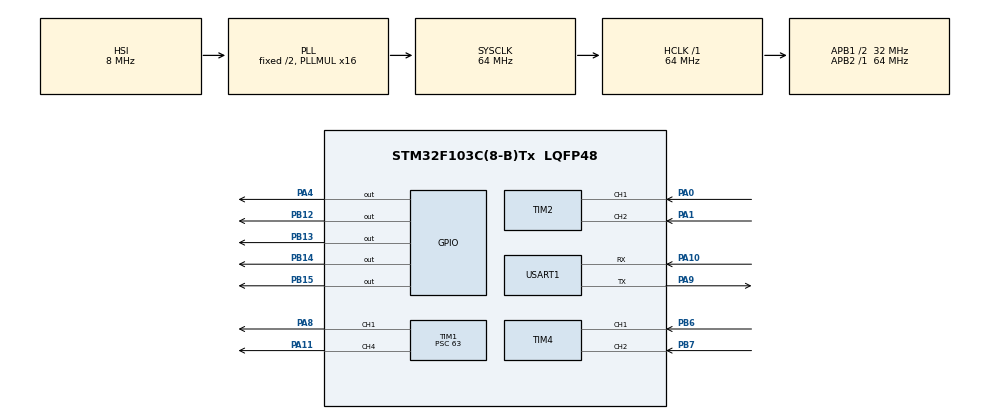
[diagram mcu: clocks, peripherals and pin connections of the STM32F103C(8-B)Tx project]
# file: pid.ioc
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Mcu.Family=STM32F1
Mcu.Name=STM32F103C(8-B)Tx
Mcu.Package=LQFP48
NVIC.PriorityGroup=NVIC_PRIORITYGROUP_4
NVIC.TIM3_IRQn=true\:0\:0\:false\:false\:true\:true\:true\:true
PA0-WKUP.GPIO_PuPd=GPIO_PULLUP
PA0-WKUP.Signal=S_TIM2_CH1_ETR
PA1.GPIO_PuPd=GPIO_PULLUP
PA1.Signal=S_TIM2_CH2
PA10.Mode=Asynchronous
PA10.Signal=USART1_RX
PA11.Signal=S_TIM1_CH4
PA13.Mode=Serial_Wire
PA13.Signal=SYS_JTMS-SWDIO
PA14.Mode=Serial_Wire
PA14.Signal=SYS_JTCK-SWCLK
PA4.GPIO_Speed=GPIO_SPEED_FREQ_MEDIUM
PA4.PinState=GPIO_PIN_SET
PA4.Signal=GPIO_Output
PA8.Signal=S_TIM1_CH1
PA9.Mode=Asynchronous
PA9.Signal=USART1_TX
PB12.GPIO_Speed=GPIO_SPEED_FREQ_MEDIUM
PB12.Signal=GPIO_Output
PB13.GPIO_Speed=GPIO_SPEED_FREQ_MEDIUM
PB13.Signal=GPIO_Output
PB14.GPIO_Speed=GPIO_SPEED_FREQ_MEDIUM
PB14.Signal=GPIO_Output
PB15.GPIO_Speed=GPIO_SPEED_FREQ_MEDIUM
PB15.Signal=GPIO_Output
PB6.GPIO_PuPd=GPIO_PULLUP
PB6.Signal=S_TIM4_CH1
PB7.GPIO_PuPd=GPIO_PULLUP
PB7.Signal=S_TIM4_CH2
ProjectManager.HeapSize=0x200
ProjectManager.StackSize=0x400
ProjectManager.TargetToolchain=MDK-ARM V5.32
RCC.AHBFreq_Value=64000000
RCC.APB1CLKDivider=RCC_HCLK_DIV2
RCC.APB1Freq_Value=32000000
RCC.APB1TimFreq_Value=64000000
RCC.APB2Freq_Value=64000000
RCC.APB2TimFreq_Value=64000000
RCC.HCLKFreq_Value=64000000
RCC.PLLMUL=RCC_PLL_MUL16
RCC.SYSCLKFreq_VALUE=64000000
RCC.SYSCLKSource=RCC_SYSCLKSOURCE_PLLCLK
RCC.USBFreq_Value=64000000
SH.S_TIM1_CH1.0=TIM1_CH1,PWM Generation1 CH1
SH.S_TIM1_CH4.0=TIM1_CH4,PWM Generation4 CH4
SH.S_TIM2_CH1_ETR.0=TIM2_CH1,Encoder_Interface
SH.S_TIM2_CH2.0=TIM2_CH2,Encoder_Interface
SH.S_TIM4_CH1.0=TIM4_CH1,Encoder_Interface
SH.S_TIM4_CH2.0=TIM4_CH2,Encoder_Interface
TIM1.AutoReloadPreload=TIM_AUTORELOAD_PRELOAD_ENABLE
TIM1.Channel-PWM\ Generation1\ CH1=TIM_CHANNEL_1
TIM1.Channel-PWM\ Generation4\ CH4=TIM_CHANNEL_4
TIM1.Period=999
TIM1.Prescaler=63
TIM2.AutoReloadPreload=TIM_AUTORELOAD_PRELOAD_ENABLE
TIM2.EncoderMode=TIM_ENCODERMODE_TI12
TIM3.AutoReloadPreload=TIM_AUTORELOAD_PRELOAD_ENABLE
TIM3.Period=99
TIM3.Prescaler=6399
TIM4.AutoReloadPreload=TIM_AUTORELOAD_PRELOAD_ENABLE
TIM4.EncoderMode=TIM_ENCODERMODE_TI12
USART1.VirtualMode=VM_ASYNC
VP_TIM1_VS_ClockSourceINT.Mode=Internal
VP_TIM3_VS_ClockSourceINT.Mode=Internal
board=custom

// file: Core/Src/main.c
/* USER CODE BEGIN Header */
/**
  ******************************************************************************
  * @file           : main.c
  * @brief          : Main program body
  ******************************************************************************
  * @attention
  *
  * Copyright (c) 2026 STMicroelectronics.
  * All rights reserved.
  *
  * This software is licensed under terms that can be found in the LICENSE file
  * in the root directory of this software component.
  * If no LICENSE file comes with this software, it is provided AS-IS.
  *
  ******************************************************************************
  */
/* USER CODE END Header */
#include "main.h"

/* USER CODE BEGIN Includes */
#include <stdio.h>

/* USER CODE END Includes */

TIM_HandleTypeDef htim1;
TIM_HandleTypeDef htim2;
TIM_HandleTypeDef htim3;
TIM_HandleTypeDef htim4;

UART_HandleTypeDef huart1;

/* USER CODE BEGIN PV */
#define COUNTS_PER_REV  1320
#define MAX_PWM         999

typedef struct {
    int16_t target;
    int16_t speed;
    int32_t last_cnt;
    float kp, ki, kd;
    float err, err_last;
    float integ;
    int16_t out;
} MOTOR_PID;

MOTOR_PID ml = {.kp=2.0f, .ki=0, .kd=0};
MOTOR_PID mr = {.kp=2.0f, .ki=0, .kd=0};

typedef enum {
    STOP = 0,
    FORWARD,
    BACKWARD,
    LEFT,
    RIGHT
} MOVE_STATE;

volatile MOVE_STATE move_state = STOP;
/* USER CODE END PV */

void SystemClock_Config(void);
static void MX_GPIO_Init(void);
static void MX_TIM1_Init(void);
static void MX_TIM2_Init(void);
static void MX_TIM3_Init(void);
static void MX_TIM4_Init(void);
static void MX_USART1_UART_Init(void);
/* USER CODE BEGIN PFP */
void Motor_Left_Set(int16_t duty);
void Motor_Right_Set(int16_t duty);
void pid_calc(MOTOR_PID *p, TIM_HandleTypeDef *htim);
void Motor_Stop(void);
void Motor_Forward(int16_t speed);
void Motor_Backward(int16_t speed);
void Motor_TurnLeft(int16_t speed);
void Motor_TurnRight(int16_t speed);
void Print_Speed(void);
/* USER CODE END PFP */

/* USER CODE BEGIN 0 */
int fputc(int ch, FILE *f)
{
    HAL_UART_Transmit(&huart1, (uint8_t *)&ch, 1, HAL_MAX_DELAY);
    return ch;
}

void Motor_Left_Set(int16_t duty)
{
    if (duty > 0) {
        HAL_GPIO_WritePin(GPIOB, GPIO_PIN_12, GPIO_PIN_SET);
        HAL_GPIO_WritePin(GPIOB, GPIO_PIN_13, GPIO_PIN_RESET);
    } else if (duty < 0) {
        HAL_GPIO_WritePin(GPIOB, GPIO_PIN_12, GPIO_PIN_RESET);
        HAL_GPIO_WritePin(GPIOB, GPIO_PIN_13, GPIO_PIN_SET);
        duty = -duty;
    } else {
        HAL_GPIO_WritePin(GPIOB, GPIO_PIN_12, GPIO_PIN_RESET);
        HAL_GPIO_WritePin(GPIOB, GPIO_PIN_13, GPIO_PIN_RESET);
    }
    if (duty > MAX_PWM) duty = MAX_PWM;
    __HAL_TIM_SET_COMPARE(&htim1, TIM_CHANNEL_1, duty);
}

void Motor_Right_Set(int16_t duty)
{
    if (duty > 0) {
        HAL_GPIO_WritePin(GPIOB, GPIO_PIN_14, GPIO_PIN_SET);
        HAL_GPIO_WritePin(GPIOB, GPIO_PIN_15, GPIO_PIN_RESET);
    } else if (duty < 0) {
        HAL_GPIO_WritePin(GPIOB, GPIO_PIN_14, GPIO_PIN_RESET);
        HAL_GPIO_WritePin(GPIOB, GPIO_PIN_15, GPIO_PIN_SET);
        duty = -duty;
    } else {
        HAL_GPIO_WritePin(GPIOB, GPIO_PIN_14, GPIO_PIN_RESET);
        HAL_GPIO_WritePin(GPIOB, GPIO_PIN_15, GPIO_PIN_RESET);
    }
    if (duty > MAX_PWM) duty = MAX_PWM;
    __HAL_TIM_SET_COMPARE(&htim1, TIM_CHANNEL_4, duty);
}

void pid_calc(MOTOR_PID *p, TIM_HandleTypeDef *htim)
{

    // 2. 读取原始计数器并计算差分速度（绝对不写回CNT，防跳1归0）
    int16_t now = (int16_t)__HAL_TIM_GET_COUNTER(htim);
    p->speed = now - (int16_t)p->last_cnt;

    // 3. 独立方向修正（仅针对右轮取负，需确保调用时右轮传 &mr）
    // 若你的右轮物理正向转时差分为负，则保留此判断；若已硬件对调AB线则删掉if直接等于
    if (p == &mr) {
        p->speed = -p->speed;
    }

    p->last_cnt = now; // 仅更新记录，绝不操作硬件计数器

    // 4. PID核心计算
    p->err = p->target - p->speed;
    p->integ += p->err;

    // 5. 积分限幅（防饱和）
    if (p->integ > 500) p->integ = 500;
    if (p->integ < -500) p->integ = -500;

    float d = p->err - p->err_last;
    p->out = (int16_t)(p->kp * p->err + p->ki * p->integ + p->kd * d);
    p->err_last = p->err;

    // 6. 输出限幅
    if (p->out > MAX_PWM) p->out = MAX_PWM;
    if (p->out < -MAX_PWM) p->out = -MAX_PWM;

    // 7. 失速保护兜底（目标非0但速度连续为0时强制断输出）
    // 注：若需统计连续失速次数可加静态变量，此处极简版直接拦截单次异常
    if (p->target != 0 && p->speed == 0) {
        p->out = 0;
        p->integ = 0;
    }
}

void Motor_Stop(void)
{
    ml.target = 0;
    mr.target = 0;

    ml.err =0;
	  ml.err_last =0;
	  ml.out =0;
	  ml.integ =0;

	  mr.err =0;
	  mr.err_last =0;
	  mr.out =0;
	  mr.integ =0;

    Motor_Left_Set(0);
    Motor_Right_Set(0);

		HAL_GPIO_WritePin (GPIOA,GPIO_PIN_4,GPIO_PIN_RESET );
}

void Motor_Forward(int16_t speed)
{
	  HAL_GPIO_WritePin (GPIOA,GPIO_PIN_4,GPIO_PIN_SET );
    ml.target = speed;
    mr.target = speed;

	  ml.err =0;
	  ml.err_last =0;
	  ml.out =0;
	  ml.integ =0;

	  mr.err =0;
	  mr.err_last =0;
	  mr.out =0;
	  mr.integ =0;
}

void Motor_Backward(int16_t speed)
{
	  HAL_GPIO_WritePin (GPIOA,GPIO_PIN_4,GPIO_PIN_SET );
    ml.target = -speed;
    mr.target = -speed;

	  ml.err =0;
	  ml.err_last =0;
	  ml.out =0;
	  ml.integ =0;

	  mr.err =0;
	  mr.err_last =0;
	  mr.out =0;
	  mr.integ =0;
}

void Motor_TurnLeft(int16_t speed)
{
	  HAL_GPIO_WritePin (GPIOA,GPIO_PIN_4,GPIO_PIN_SET );
    ml.target = 0;
    mr.target = speed;

	  ml.target = 0;
    mr.target = 0;

    ml.err =0;
	  ml.err_last =0;
	  ml.out =0;
	  ml.integ =0;

	  mr.err =0;
	  mr.err_last =0;
	  mr.out =0;
	  mr.integ =0;

}

void Motor_TurnRight(int16_t speed)
{
    HAL_GPIO_WritePin (GPIOA,GPIO_PIN_4,GPIO_PIN_SET );
    ml.target = speed;
    mr.target = 0;

	  ml.target = 0;
    mr.target = 0;

    ml.err =0;
	  ml.err_last =0;
	  ml.out =0;
	  ml.integ =0;

	  mr.err =0;
	  mr.err_last =0;
	  mr.out =0;
	  mr.integ =0;
}

void Print_Speed(void)
{
    float rpm_l = ml.speed * 100.0f * 60.0f / COUNTS_PER_REV;
    float rpm_r = mr.speed * 100.0f * 60.0f / COUNTS_PER_REV;

    printf("State:%d | L: tgt=%d spd=%d rpm=%.1f out=%d | R: tgt=%d spd=%d rpm=%.1f out=%d\r\n",
           move_state,
           ml.target, ml.speed, rpm_l, ml.out,
           mr.target, mr.speed, rpm_r, mr.out);
}
/* USER CODE END 0 */

int main(void)
{

  /* MCU Configuration--------------------------------------------------------*/

  /* Reset of all peripherals, Initializes the Flash interface and the Systick. */
  HAL_Init();

  /* Configure the system clock */
  SystemClock_Config();

  /* Initialize all configured peripherals */
  MX_GPIO_Init();
  MX_TIM1_Init();
  MX_TIM2_Init();
  MX_TIM3_Init();
  MX_TIM4_Init();
  MX_USART1_UART_Init();
  /* USER CODE BEGIN 2 */
HAL_TIM_PWM_Start(&htim1, TIM_CHANNEL_1);
HAL_TIM_PWM_Start(&htim1, TIM_CHANNEL_4);

HAL_TIM_Encoder_Start(&htim2, TIM_CHANNEL_ALL);
HAL_TIM_Encoder_Start(&htim4, TIM_CHANNEL_ALL);

HAL_TIM_Base_Start_IT(&htim3);

ml.last_cnt = (int16_t)__HAL_TIM_GET_COUNTER(&htim2);
mr.last_cnt = (int16_t)__HAL_TIM_GET_COUNTER(&htim4);

Motor_Stop();

printf("System Ready!\r\n");
printf("Commands: F=Forward, B=Backward, L=Left, R=Right, S=Stop\r\n");
  /* USER CODE END 2 */

  /* Infinite loop */
  /* USER CODE BEGIN WHILE */
  while (1)
  {
		 uint8_t cmd;
    if (HAL_UART_Receive(&huart1, &cmd, 1, 0) == HAL_OK) {
        switch (cmd) {
            case 'F': case 'f':
                Motor_Forward(60);
                move_state = FORWARD;
                printf(">> Forward\r\n");
                break;
            case 'B': case 'b':
                Motor_Backward(60);
                move_state = BACKWARD;
                printf(">> Backward\r\n");
                break;
            case 'L': case 'l':
                Motor_TurnLeft(60);
                move_state = LEFT;
                printf(">> Turn Left\r\n");
                break;
            case 'R': case 'r':
                Motor_TurnRight(60);
                move_state = RIGHT;
                printf(">> Turn Right\r\n");
                break;
            case 'S': case 's':
                Motor_Stop();
                move_state = STOP;
                printf(">> Stop\r\n");
                break;
            default:
                break;
        }
    }
    HAL_Delay(10);
    /* USER CODE END WHILE */

  }
}

void SystemClock_Config(void)
{
  RCC_OscInitTypeDef RCC_OscInitStruct = {0};
  RCC_ClkInitTypeDef RCC_ClkInitStruct = {0};

  /** Initializes the RCC Oscillators according to the specified parameters
  * in the RCC_OscInitTypeDef structure.
  */
  RCC_OscInitStruct.OscillatorType = RCC_OSCILLATORTYPE_HSI;
  RCC_OscInitStruct.HSIState = RCC_HSI_ON;
  RCC_OscInitStruct.HSICalibrationValue = RCC_HSICALIBRATION_DEFAULT;
  RCC_OscInitStruct.PLL.PLLState = RCC_PLL_ON;
  RCC_OscInitStruct.PLL.PLLSource = RCC_PLLSOURCE_HSI_DIV2;
  RCC_OscInitStruct.PLL.PLLMUL = RCC_PLL_MUL16;
  if (HAL_RCC_OscConfig(&RCC_OscInitStruct) != HAL_OK)
  {
    Error_Handler();
  }

  /** Initializes the CPU, AHB and APB buses clocks
  */
  RCC_ClkInitStruct.ClockType = RCC_CLOCKTYPE_HCLK|RCC_CLOCKTYPE_SYSCLK
                              |RCC_CLOCKTYPE_PCLK1|RCC_CLOCKTYPE_PCLK2;
  RCC_ClkInitStruct.SYSCLKSource = RCC_SYSCLKSOURCE_PLLCLK;
  RCC_ClkInitStruct.AHBCLKDivider = RCC_SYSCLK_DIV1;
  RCC_ClkInitStruct.APB1CLKDivider = RCC_HCLK_DIV2;
  RCC_ClkInitStruct.APB2CLKDivider = RCC_HCLK_DIV1;

  if (HAL_RCC_ClockConfig(&RCC_ClkInitStruct, FLASH_LATENCY_2) != HAL_OK)
  {
    Error_Handler();
  }
}

static void MX_TIM1_Init(void)
{

  TIM_ClockConfigTypeDef sClockSourceConfig = {0};
  TIM_MasterConfigTypeDef sMasterConfig = {0};
  TIM_OC_InitTypeDef sConfigOC = {0};
  TIM_BreakDeadTimeConfigTypeDef sBreakDeadTimeConfig = {0};

  htim1.Instance = TIM1;
  htim1.Init.Prescaler = 63;
  htim1.Init.CounterMode = TIM_COUNTERMODE_UP;
  htim1.Init.Period = 999;
  htim1.Init.ClockDivision = TIM_CLOCKDIVISION_DIV1;
  htim1.Init.RepetitionCounter = 0;
  htim1.Init.AutoReloadPreload = TIM_AUTORELOAD_PRELOAD_ENABLE;
  if (HAL_TIM_Base_Init(&htim1) != HAL_OK)
  {
    Error_Handler();
  }
  sClockSourceConfig.ClockSource = TIM_CLOCKSOURCE_INTERNAL;
  if (HAL_TIM_ConfigClockSource(&htim1, &sClockSourceConfig) != HAL_OK)
  {
    Error_Handler();
  }
  if (HAL_TIM_PWM_Init(&htim1) != HAL_OK)
  {
    Error_Handler();
  }
  sMasterConfig.MasterOutputTrigger = TIM_TRGO_RESET;
  sMasterConfig.MasterSlaveMode = TIM_MASTERSLAVEMODE_DISABLE;
  if (HAL_TIMEx_MasterConfigSynchronization(&htim1, &sMasterConfig) != HAL_OK)
  {
    Error_Handler();
  }
  sConfigOC.OCMode = TIM_OCMODE_PWM1;
  sConfigOC.Pulse = 0;
  sConfigOC.OCPolarity = TIM_OCPOLARITY_HIGH;
  sConfigOC.OCNPolarity = TIM_OCNPOLARITY_HIGH;
  sConfigOC.OCFastMode = TIM_OCFAST_DISABLE;
  sConfigOC.OCIdleState = TIM_OCIDLESTATE_RESET;
  sConfigOC.OCNIdleState = TIM_OCNIDLESTATE_RESET;
  if (HAL_TIM_PWM_ConfigChannel(&htim1, &sConfigOC, TIM_CHANNEL_1) != HAL_OK)
  {
    Error_Handler();
  }
  if (HAL_TIM_PWM_ConfigChannel(&htim1, &sConfigOC, TIM_CHANNEL_4) != HAL_OK)
  {
    Error_Handler();
  }
  sBreakDeadTimeConfig.OffStateRunMode = TIM_OSSR_DISABLE;
  sBreakDeadTimeConfig.OffStateIDLEMode = TIM_OSSI_DISABLE;
  sBreakDeadTimeConfig.LockLevel = TIM_LOCKLEVEL_OFF;
  sBreakDeadTimeConfig.DeadTime = 0;
  sBreakDeadTimeConfig.BreakState = TIM_BREAK_DISABLE;
  sBreakDeadTimeConfig.BreakPolarity = TIM_BREAKPOLARITY_HIGH;
  sBreakDeadTimeConfig.AutomaticOutput = TIM_AUTOMATICOUTPUT_DISABLE;
  if (HAL_TIMEx_ConfigBreakDeadTime(&htim1, &sBreakDeadTimeConfig) != HAL_OK)
  {
    Error_Handler();
  }
  HAL_TIM_MspPostInit(&htim1);

}

static void MX_TIM2_Init(void)
{

  TIM_Encoder_InitTypeDef sConfig = {0};
  TIM_MasterConfigTypeDef sMasterConfig = {0};

  htim2.Instance = TIM2;
  htim2.Init.Prescaler = 0;
  htim2.Init.CounterMode = TIM_COUNTERMODE_UP;
  htim2.Init.Period = 65535;
  htim2.Init.ClockDivision = TIM_CLOCKDIVISION_DIV1;
  htim2.Init.AutoReloadPreload = TIM_AUTORELOAD_PRELOAD_ENABLE;
  sConfig.EncoderMode = TIM_ENCODERMODE_TI12;
  sConfig.IC1Polarity = TIM_ICPOLARITY_RISING;
  sConfig.IC1Selection = TIM_ICSELECTION_DIRECTTI;
  sConfig.IC1Prescaler = TIM_ICPSC_DIV1;
  sConfig.IC1Filter = 0;
  sConfig.IC2Polarity = TIM_ICPOLARITY_RISING;
  sConfig.IC2Selection = TIM_ICSELECTION_DIRECTTI;
  sConfig.IC2Prescaler = TIM_ICPSC_DIV1;
  sConfig.IC2Filter = 0;
  if (HAL_TIM_Encoder_Init(&htim2, &sConfig) != HAL_OK)
  {
    Error_Handler();
  }
  sMasterConfig.MasterOutputTrigger = TIM_TRGO_RESET;
  sMasterConfig.MasterSlaveMode = TIM_MASTERSLAVEMODE_DISABLE;
  if (HAL_TIMEx_MasterConfigSynchronization(&htim2, &sMasterConfig) != HAL_OK)
  {
    Error_Handler();
  }

}

static void MX_TIM3_Init(void)
{

  TIM_ClockConfigTypeDef sClockSourceConfig = {0};
  TIM_MasterConfigTypeDef sMasterConfig = {0};

  htim3.Instance = TIM3;
  htim3.Init.Prescaler = 6399;
  htim3.Init.CounterMode = TIM_COUNTERMODE_UP;
  htim3.Init.Period = 99;
  htim3.Init.ClockDivision = TIM_CLOCKDIVISION_DIV1;
  htim3.Init.AutoReloadPreload = TIM_AUTORELOAD_PRELOAD_ENABLE;
  if (HAL_TIM_Base_Init(&htim3) != HAL_OK)
  {
    Error_Handler();
  }
  sClockSourceConfig.ClockSource = TIM_CLOCKSOURCE_INTERNAL;
  if (HAL_TIM_ConfigClockSource(&htim3, &sClockSourceConfig) != HAL_OK)
  {
    Error_Handler();
  }
  sMasterConfig.MasterOutputTrigger = TIM_TRGO_RESET;
  sMasterConfig.MasterSlaveMode = TIM_MASTERSLAVEMODE_DISABLE;
  if (HAL_TIMEx_MasterConfigSynchronization(&htim3, &sMasterConfig) != HAL_OK)
  {
    Error_Handler();
  }

}

static void MX_TIM4_Init(void)
{

  TIM_Encoder_InitTypeDef sConfig = {0};
  TIM_MasterConfigTypeDef sMasterConfig = {0};

  htim4.Instance = TIM4;
  htim4.Init.Prescaler = 0;
  htim4.Init.CounterMode = TIM_COUNTERMODE_UP;
  htim4.Init.Period = 65535;
  htim4.Init.ClockDivision = TIM_CLOCKDIVISION_DIV1;
  htim4.Init.AutoReloadPreload = TIM_AUTORELOAD_PRELOAD_ENABLE;
  sConfig.EncoderMode = TIM_ENCODERMODE_TI12;
  sConfig.IC1Polarity = TIM_ICPOLARITY_RISING;
  sConfig.IC1Selection = TIM_ICSELECTION_DIRECTTI;
  sConfig.IC1Prescaler = TIM_ICPSC_DIV1;
  sConfig.IC1Filter = 0;
  sConfig.IC2Polarity = TIM_ICPOLARITY_RISING;
  sConfig.IC2Selection = TIM_ICSELECTION_DIRECTTI;
  sConfig.IC2Prescaler = TIM_ICPSC_DIV1;
  sConfig.IC2Filter = 0;
  if (HAL_TIM_Encoder_Init(&htim4, &sConfig) != HAL_OK)
  {
    Error_Handler();
  }
  sMasterConfig.MasterOutputTrigger = TIM_TRGO_RESET;
  sMasterConfig.MasterSlaveMode = TIM_MASTERSLAVEMODE_DISABLE;
  if (HAL_TIMEx_MasterConfigSynchronization(&htim4, &sMasterConfig) != HAL_OK)
  {
    Error_Handler();
  }

}

static void MX_USART1_UART_Init(void)
{

  huart1.Instance = USART1;
  huart1.Init.BaudRate = 115200;
  huart1.Init.WordLength = UART_WORDLENGTH_8B;
  huart1.Init.StopBits = UART_STOPBITS_1;
  huart1.Init.Parity = UART_PARITY_NONE;
  huart1.Init.Mode = UART_MODE_TX_RX;
  huart1.Init.HwFlowCtl = UART_HWCONTROL_NONE;
  huart1.Init.OverSampling = UART_OVERSAMPLING_16;
  if (HAL_UART_Init(&huart1) != HAL_OK)
  {
    Error_Handler();
  }

}

static void MX_GPIO_Init(void)
{
  GPIO_InitTypeDef GPIO_InitStruct = {0};

  /* GPIO Ports Clock Enable */
  __HAL_RCC_GPIOA_CLK_ENABLE();
  __HAL_RCC_GPIOB_CLK_ENABLE();

  /*Configure GPIO pin Output Level */
  HAL_GPIO_WritePin(GPIOA, GPIO_PIN_4, GPIO_PIN_SET);

  /*Configure GPIO pin Output Level */
  HAL_GPIO_WritePin(GPIOB, GPIO_PIN_12|GPIO_PIN_13|GPIO_PIN_14|GPIO_PIN_15, GPIO_PIN_RESET);

  /*Configure GPIO pin : PA4 */
  GPIO_InitStruct.Pin = GPIO_PIN_4;
  GPIO_InitStruct.Mode = GPIO_MODE_OUTPUT_PP;
  GPIO_InitStruct.Pull = GPIO_NOPULL;
  GPIO_InitStruct.Speed = GPIO_SPEED_FREQ_MEDIUM;
  HAL_GPIO_Init(GPIOA, &GPIO_InitStruct);

  /*Configure GPIO pins : PB12 PB13 PB14 PB15 */
  GPIO_InitStruct.Pin = GPIO_PIN_12|GPIO_PIN_13|GPIO_PIN_14|GPIO_PIN_15;
  GPIO_InitStruct.Mode = GPIO_MODE_OUTPUT_PP;
  GPIO_InitStruct.Pull = GPIO_NOPULL;
  GPIO_InitStruct.Speed = GPIO_SPEED_FREQ_MEDIUM;
  HAL_GPIO_Init(GPIOB, &GPIO_InitStruct);

}

/* USER CODE BEGIN 4 */
void HAL_TIM_PeriodElapsedCallback(TIM_HandleTypeDef *htim)
{
    if (htim->Instance == TIM3) {
        static uint8_t cnt = 0;

        pid_calc(&ml, &htim2);
        pid_calc(&mr, &htim4);
        Motor_Left_Set(ml.out);
        Motor_Right_Set(mr.out);

        if (++cnt >= 10) {
            cnt = 0;
            Print_Speed();
        }
    }
}
/* USER CODE END 4 */

void Error_Handler(void)
{
  __disable_irq();
  while (1)
  {
  }
}
